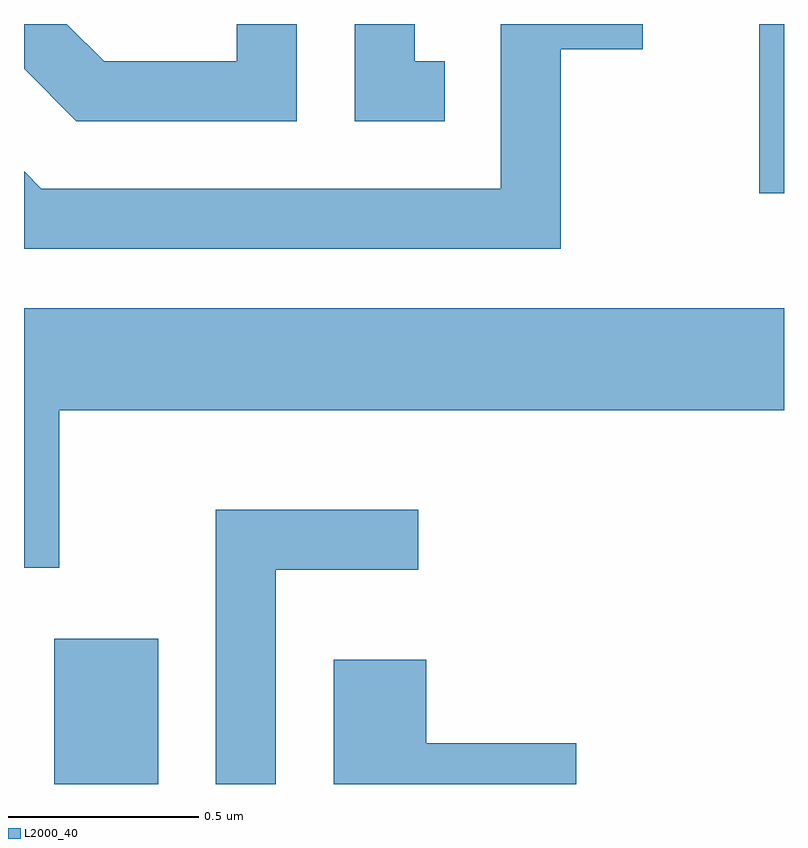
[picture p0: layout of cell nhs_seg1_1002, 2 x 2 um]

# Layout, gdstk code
import gdstk
lib = gdstk.Library(unit=1e-6, precision=1e-09)
def R(c, l, rs):  # rectangles x0, y0, x1, y1
    for r in rs: c.add(gdstk.rectangle(r[:2], r[2:], *l))
def P(c, l, *ps):  # polygons
    for p in ps: c.add(gdstk.Polygon(p, *l))
L2000_40 = (2000, 40)

nhs_seg1_1002 = lib.new_cell('nhs_seg1_1002')
R(nhs_seg1_1002, L2000_40, [(192.691,889.712,192.964,890.094), (194.546,891.266,194.611,891.712)])
P(nhs_seg1_1002, L2000_40, [(193.329,891.712),(193.171,891.712),(193.171,891.614),(192.822,891.614),(192.724,891.712),(192.611,891.712),(192.611,891.594),(192.749,891.456),(193.329,891.456)],
  [(194.024,891.646),(194.239,891.646),(194.239,891.712),(193.866,891.712),(193.866,891.279),(192.657,891.279),(192.611,891.325),(192.611,891.121),(194.024,891.121)],
  [(193.718,891.614),(193.639,891.614),(193.639,891.712),(193.481,891.712),(193.481,891.456),(193.718,891.456)],
  [(192.704,890.696),(194.611,890.696),(194.611,890.964),(192.611,890.964),(192.611,890.281),(192.704,890.281)],
  [(193.274,890.276),(193.648,890.276),(193.648,890.434),(193.116,890.434),(193.116,889.712),(193.274,889.712)],
  [(194.064,889.819),(193.669,889.819),(193.669,890.039),(193.426,890.039),(193.426,889.712),(194.064,889.712)])

lib.write_gds('nhs_seg1_1002.gds')
